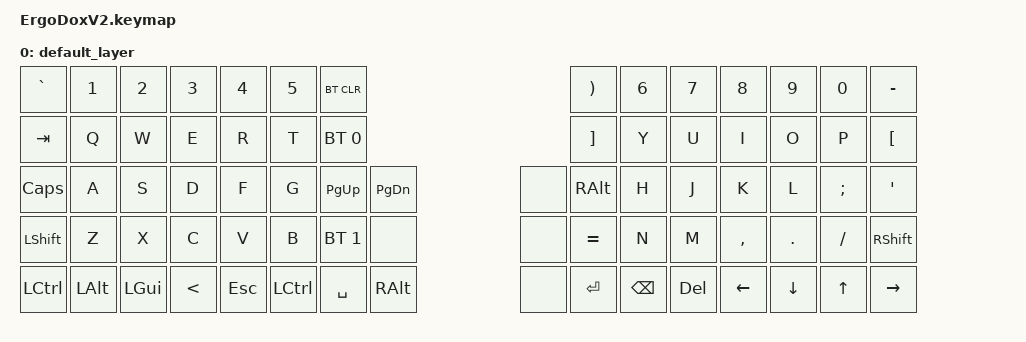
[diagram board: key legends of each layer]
#include <behaviors.dtsi>
#include <dt-bindings/zmk/keys.h>
#include <dt-bindings/zmk/bt.h>
#include <dt-bindings/zmk/outputs.h>

/ {
    keymap {
        compatible = "zmk,keymap";

        default_layer {
			        bindings = <
            &kp GRAVE   &kp N1      &kp   N2    &kp   N3     &kp    N4  &kp N5     &bt BT_CLR                                          &kp RPAR  &kp N6    &kp N7      &kp N8     &kp N9    &kp  N0   &kp MINUS
            &kp TAB     &kp  Q      &kp   W     &kp    E     &kp     R  &kp  T     &bt BT_SEL 0                                        &kp RBKT  &kp Y     &kp U       &kp I      &kp  O    &kp  P    &kp LBKT
            &kp CAPS    &kp  A      &kp   S     &kp    D     &kp     F  &kp  G     &kp PG_UP     &kp PG_DN                      &none  &kp RALT  &kp H     &kp J       &kp K      &kp  L    &kp SEMI  &kp SQT
            &kp LSHFT   &kp  Z      &kp   X     &kp    C     &kp     V  &kp  B     &bt BT_SEL 1  &none                          &none  &kp EQUAL &kp N     &kp M       &kp COMMA  &kp DOT   &kp FSLH  &kp RSHFT
            &kp LCTRL   &kp LALT    &kp LGUI    &kp LT       &kp ESC    &kp LCTRL  &kp SPACE     &kp RALT                       &none  &kp ENTER &kp BSPC  &kp DELETE  &kp LEFT   &kp DOWN  &kp UP    &kp RIGHT           
			        >;
        };
    };
};
